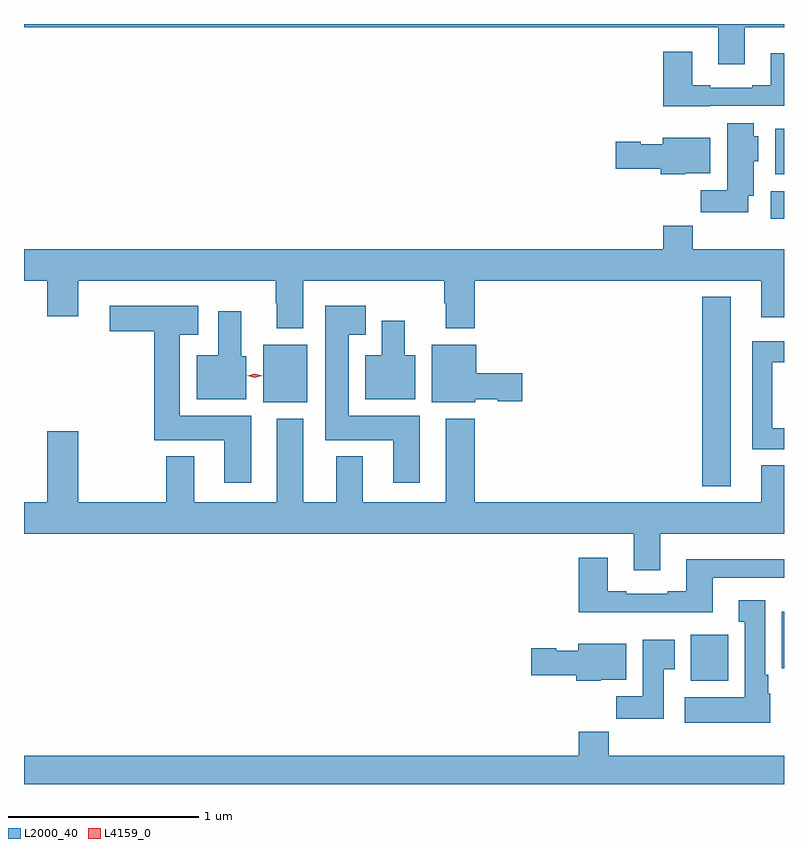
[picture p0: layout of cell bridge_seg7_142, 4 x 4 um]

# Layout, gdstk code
import gdstk
lib = gdstk.Library(unit=1e-6, precision=1e-09)
def R(c, l, rs):  # rectangles x0, y0, x1, y1
    for r in rs: c.add(gdstk.rectangle(r[:2], r[2:], *l))
def P(c, l, *ps):  # polygons
    for p in ps: c.add(gdstk.Polygon(p, *l))
L2000_40 = (2000, 40)
L4159_0 = (4159, 0)

bridge_seg7_142 = lib.new_cell('bridge_seg7_142')
R(bridge_seg7_142, L2000_40, [(719.843,1001.174,720.04,1001.416), (720.323,1001.24,720.334,1001.536), (719.903,1002.197,720.055,1003.195), (717.593,1002.638,717.826,1002.943), (720.263,1003.604,720.334,1003.75), (720.287,1003.838,720.334,1004.08)])
P(bridge_seg7_142, L2000_40, [(720.127,1004.612),(720.334,1004.612),(720.334,1004.63),(716.334,1004.63),(716.334,1004.612),(719.987,1004.612),(719.987,1004.418),(720.127,1004.418)],
  [(719.943,1004.199),(720.334,1004.199),(720.334,1004.476),(720.263,1004.476),(720.263,1004.308),(720.167,1004.308),(720.167,1004.295),(719.947,1004.295),(719.947,1004.308),(719.851,1004.308),(719.851,1004.485),(719.699,1004.485),(719.699,1004.198),(719.943,1004.198)],
  [(720.145,1003.727),(720.175,1003.727),(720.175,1003.908),(720.199,1003.908),(720.199,1004.04),(720.175,1004.04),(720.175,1004.107),(720.035,1004.107),(720.035,1003.756),(719.896,1003.756),(719.896,1003.638),(720.145,1003.638)],
  [(719.814,1003.844),(719.947,1003.844),(719.947,1004.032),(719.696,1004.032),(719.696,1003.996),(719.58,1003.996),(719.58,1004.009),(719.448,1004.009),(719.448,1003.867),(719.684,1003.867),(719.684,1003.838),(719.814,1003.838)],
  [(717.805,1003.28),(718.546,1003.28),(718.546,1003.16),(718.553,1003.16),(718.553,1003.028),(718.706,1003.028),(718.706,1003.28),(720.215,1003.28),(720.215,1003.086),(720.334,1003.086),(720.334,1003.444),(719.855,1003.444),(719.855,1003.568),(719.699,1003.568),(719.699,1003.444),(716.334,1003.444),(716.334,1003.28),(716.456,1003.28),(716.456,1003.092),(716.62,1003.092),(716.62,1003.28),(717.658,1003.28),(717.658,1003.16),(717.665,1003.16),(717.665,1003.028),(717.805,1003.028)],
  [(717.529,1002.568),(717.154,1002.568),(717.154,1002.995),(717.25,1002.995),(717.25,1003.147),(716.784,1003.147),(716.784,1003.013),(717.02,1003.013),(717.02,1002.44),(717.389,1002.44),(717.389,1002.216),(717.529,1002.216)],
  [(718.417,1002.568),(718.042,1002.568),(718.042,1002.995),(718.132,1002.995),(718.132,1003.147),(717.92,1003.147),(717.92,1002.44),(718.277,1002.44),(718.277,1002.216),(718.417,1002.216)],
  [(717.505,1002.882),(717.478,1002.882),(717.478,1003.117),(717.356,1003.117),(717.356,1002.886),(717.242,1002.886),(717.242,1002.656),(717.505,1002.656)],
  [(718.393,1002.886),(718.339,1002.886),(718.339,1003.069),(718.217,1003.069),(718.217,1002.886),(718.13,1002.886),(718.13,1002.656),(718.393,1002.656)],
  [(720.334,1002.502),(720.271,1002.502),(720.271,1002.851),(720.334,1002.851),(720.334,1002.96),(720.167,1002.96),(720.167,1002.393),(720.334,1002.393)],
  [(718.71,1002.656),(718.827,1002.656),(718.827,1002.644),(718.957,1002.644),(718.957,1002.791),(718.714,1002.791),(718.714,1002.943),(718.481,1002.943),(718.481,1002.638),(718.71,1002.638)],
  [(719.683,1001.948),(720.334,1001.948),(720.334,1002.307),(720.215,1002.307),(720.215,1002.112),(718.706,1002.112),(718.706,1002.553),(718.553,1002.553),(718.553,1002.112),(718.117,1002.112),(718.117,1002.355),(717.977,1002.355),(717.977,1002.112),(717.805,1002.112),(717.805,1002.553),(717.665,1002.553),(717.665,1002.112),(717.229,1002.112),(717.229,1002.355),(717.082,1002.355),(717.082,1002.112),(716.62,1002.112),(716.62,1002.487),(716.456,1002.487),(716.456,1002.112),(716.334,1002.112),(716.334,1001.948),(719.543,1001.948),(719.543,1001.754),(719.683,1001.754)],
  [(719.959,1001.715),(720.334,1001.715),(720.334,1001.812),(719.819,1001.812),(719.819,1001.644),(719.723,1001.644),(719.723,1001.631),(719.503,1001.631),(719.503,1001.644),(719.407,1001.644),(719.407,1001.821),(719.255,1001.821),(719.255,1001.534),(719.959,1001.534)],
  [(720.262,1001.106),(720.25,1001.106),(720.25,1001.206),(720.235,1001.206),(720.235,1001.596),(720.095,1001.596),(720.095,1001.483),(720.128,1001.483),(720.128,1001.086),(719.811,1001.086),(719.811,1000.952),(720.262,1000.952)],
  [(719.701,1001.233),(719.758,1001.233),(719.758,1001.389),(719.591,1001.389),(719.591,1001.092),(719.452,1001.092),(719.452,1000.974),(719.701,1000.974)],
  [(719.37,1001.18),(719.503,1001.18),(719.503,1001.368),(719.252,1001.368),(719.252,1001.332),(719.136,1001.332),(719.136,1001.345),(719.004,1001.345),(719.004,1001.203),(719.24,1001.203),(719.24,1001.174),(719.37,1001.174)],
  [(720.334,1000.78),(719.411,1000.78),(719.411,1000.904),(719.255,1000.904),(719.255,1000.78),(716.334,1000.78),(716.334,1000.63),(720.334,1000.63)])
P(bridge_seg7_142, L4159_0, [(717.549,1002.769),(717.51,1002.779),(717.51,1002.779),(717.51,1002.78),(717.549,1002.789),(717.588,1002.78),(717.588,1002.779),(717.588,1002.779)])

lib.write_gds('bridge_seg7_142.gds')
